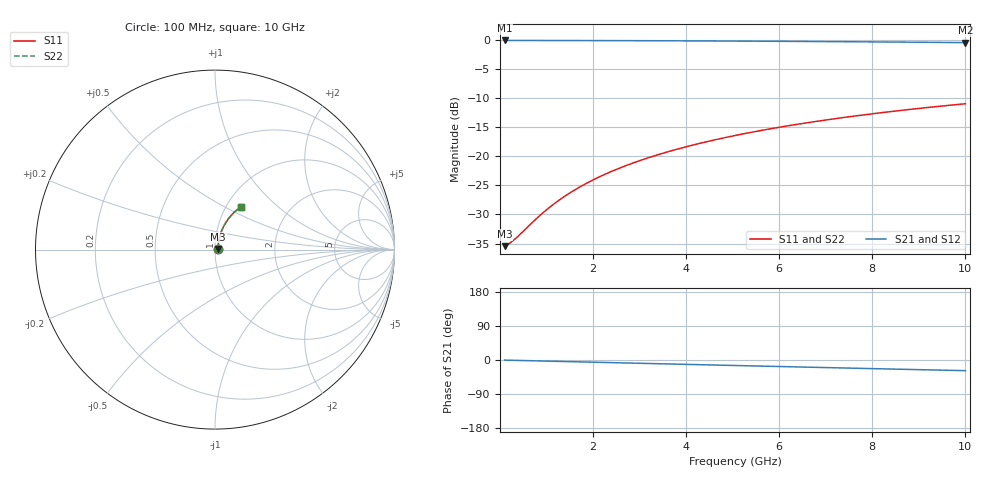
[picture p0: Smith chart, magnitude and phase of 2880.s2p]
# Hz S RI R 50.00
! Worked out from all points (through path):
!   100 points, 100 MHz to 10 GHz, reference 50 ohm
!   highest |S21| = -0.15 dB at 100 MHz (marker M1); lowest = -0.5 dB at 10 GHz (marker M2)
!   group delay of S21, straight-line fit = 7.84 ps
!   lowest |S11| = -35.5 dB at 100 MHz (marker M3), VSWR 1.03, Z = 51.7 + j0.303 ohm
!   |S11| at or under -10 dB: start of sweep to end of sweep
!   |S22| runs from -35.5 to -11.0 dB; largest |S21 - S12| = 0
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1e8  0.0166 0.00293  0.9834 -0.00497  0.9834 -0.00497  0.0166 0.00293
2e8  0.0168 0.00585  0.9832 -0.00994  0.9832 -0.00994  0.0168 0.00585
3e8  0.0169 0.00878  0.9831 -0.0149  0.9831 -0.0149  0.0169 0.00878
4e8  0.0171 0.0117  0.9829 -0.0199  0.9829 -0.0199  0.0171 0.0117
8e8  0.018 0.0234  0.9819 -0.0397  0.9819 -0.0397  0.018 0.0234
1.1e9  0.0189 0.0321  0.9808 -0.0545  0.9808 -0.0545  0.0189 0.0321
1.4e9  0.0201 0.0408  0.9794 -0.0693  0.9794 -0.0693  0.0201 0.0408
1.6e9  0.021 0.0465  0.9784 -0.0792  0.9784 -0.0792  0.021 0.0465
1.8e9  0.0221 0.0523  0.9772 -0.089  0.9772 -0.089  0.0221 0.0523
2.1e9  0.0239 0.0608  0.9752 -0.1037  0.9752 -0.1037  0.0239 0.0608
2.5e9  0.0266 0.0721  0.972 -0.1232  0.972 -0.1232  0.0266 0.0721
2.9e9  0.0298 0.0833  0.9683 -0.1425  0.9683 -0.1425  0.0298 0.0833
3.4e9  0.0344 0.097  0.9631 -0.1664  0.9631 -0.1664  0.0344 0.097
3.8e9  0.0386 0.1078  0.9583 -0.1854  0.9583 -0.1854  0.0386 0.1078
4.2e9  0.0432 0.1184  0.953 -0.2042  0.953 -0.2042  0.0432 0.1184
4.6e9  0.0482 0.1287  0.9473 -0.2227  0.9473 -0.2227  0.0482 0.1287
5.1e9  0.0549 0.1413  0.9395 -0.2455  0.9395 -0.2455  0.0549 0.1413
5.9e9  0.067 0.1606  0.9255 -0.2813  0.9255 -0.2813  0.067 0.1606
6.7e9  0.0804 0.1788  0.91 -0.3158  0.91 -0.3158  0.0804 0.1788
7.5e9  0.0951 0.1957  0.8929 -0.3492  0.8929 -0.3492  0.0951 0.1957
8.4e9  0.1129 0.2131  0.8719 -0.3852  0.8719 -0.3852  0.1129 0.2131
1e10  0.1474 0.2397  0.831 -0.4447  0.831 -0.4447  0.1474 0.2397
